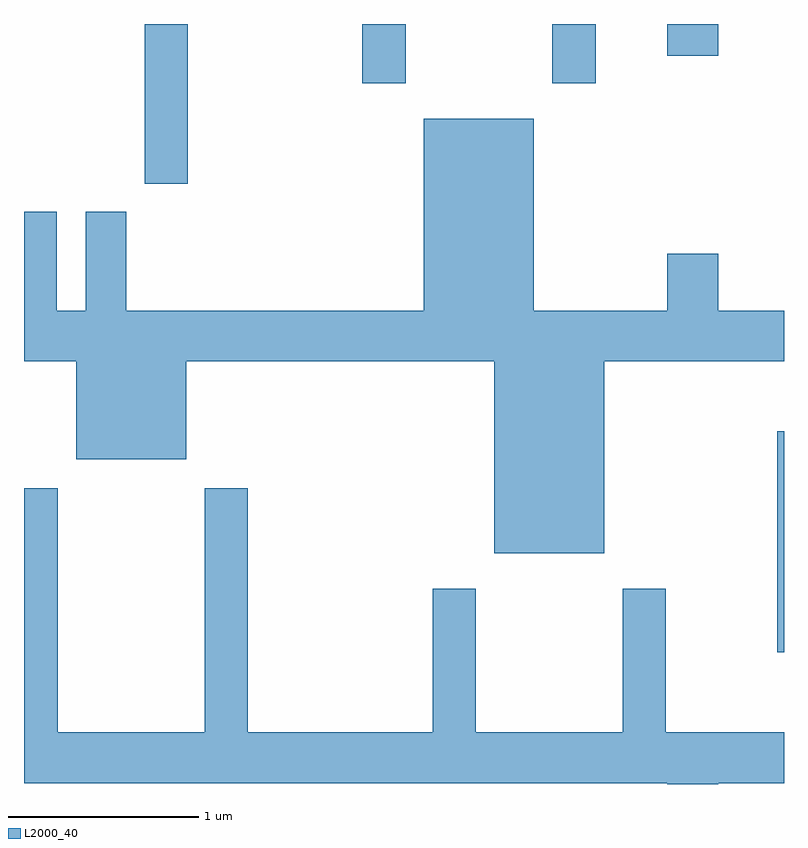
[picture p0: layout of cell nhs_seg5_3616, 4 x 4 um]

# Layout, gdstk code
import gdstk
lib = gdstk.Library(unit=1e-6, precision=1e-09)
def R(c, l, rs):  # rectangles x0, y0, x1, y1
    for r in rs: c.add(gdstk.rectangle(r[:2], r[2:], *l))
def P(c, l, *ps):  # polygons
    for p in ps: c.add(gdstk.Polygon(p, *l))
L2000_40 = (2000, 40)

nhs_seg5_3616 = lib.new_cell('nhs_seg5_3616')
R(nhs_seg5_3616, L2000_40, [(295.576,1510.766,295.611,1511.929), (292.246,1513.231,292.474,1514.072), (293.391,1513.761,293.619,1514.072), (294.391,1513.761,294.619,1514.072), (294.996,1513.906,295.264,1514.072)])
P(nhs_seg5_3616, L2000_40, [(291.784,1513.084),(291.611,1513.084),(291.611,1512.296),(291.886,1512.296),(291.886,1511.781),(292.464,1511.781),(292.464,1512.296),(294.086,1512.296),(294.086,1511.286),(294.664,1511.286),(294.664,1512.296),(295.611,1512.296),(295.611,1512.564),(295.264,1512.564),(295.264,1512.864),(294.996,1512.864),(294.996,1512.564),(294.294,1512.564),(294.294,1513.574),(293.716,1513.574),(293.716,1512.564),(292.149,1512.564),(292.149,1513.084),(291.936,1513.084),(291.936,1512.564),(291.784,1512.564)],
  [(295.264,1510.076),(295.611,1510.076),(295.611,1510.344),(294.989,1510.344),(294.989,1511.099),(294.761,1511.099),(294.761,1510.344),(293.989,1510.344),(293.989,1511.099),(293.761,1511.099),(293.761,1510.344),(292.789,1510.344),(292.789,1511.629),(292.561,1511.629),(292.561,1510.344),(291.789,1510.344),(291.789,1511.629),(291.611,1511.629),(291.611,1510.076),(294.996,1510.076),(294.996,1510.072),(295.264,1510.072)])

lib.write_gds('nhs_seg5_3616.gds')
